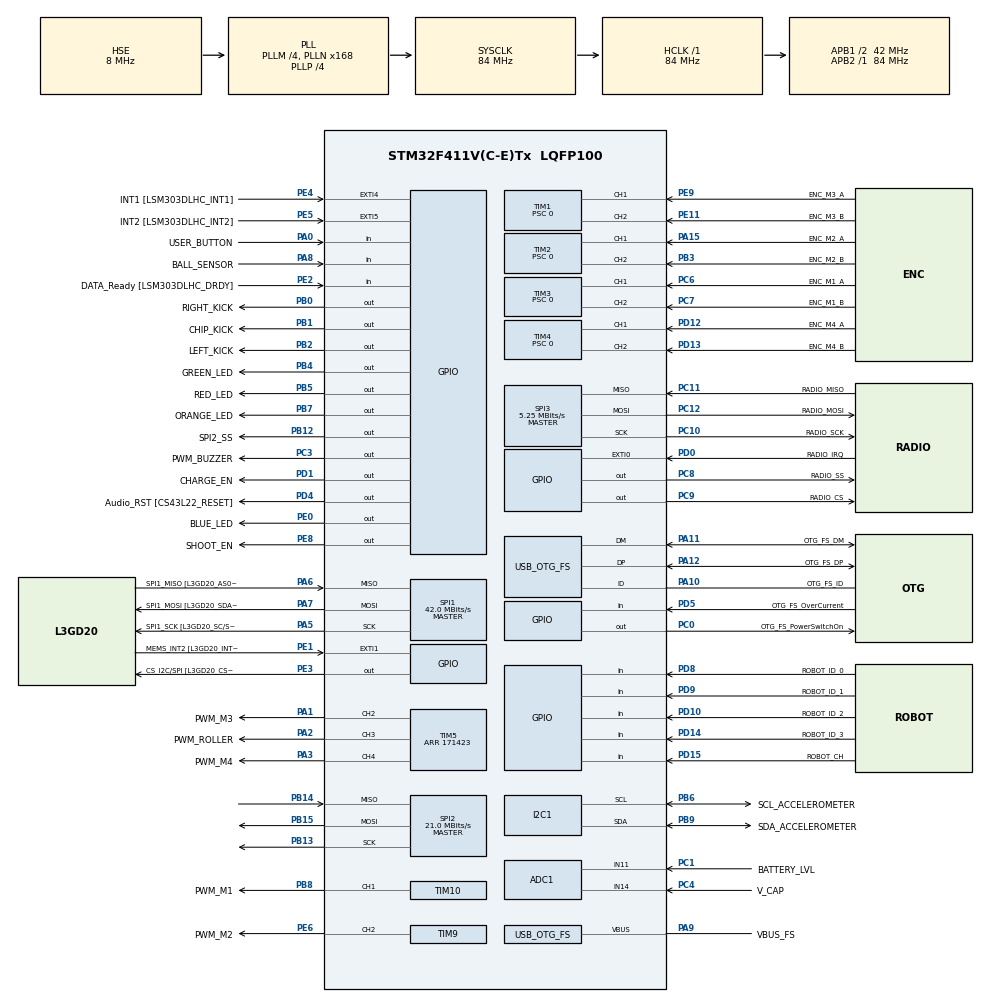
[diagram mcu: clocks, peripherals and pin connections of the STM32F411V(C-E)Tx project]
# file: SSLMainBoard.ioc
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ADC1.Channel-0\#ChannelRegularConversion=ADC_CHANNEL_11
ADC1.Channel-2\#ChannelRegularConversion=ADC_CHANNEL_14
ADC1.ContinuousConvMode=ENABLE
ADC1.DMAContinuousRequests=ENABLE
ADC1.EOCSelection=ADC_EOC_SEQ_CONV
ADC1.InjNumberOfConversion=0
ADC1.NbrOfConversion=2
ADC1.NbrOfConversionFlag=1
ADC1.Rank-0\#ChannelRegularConversion=1
ADC1.Rank-2\#ChannelRegularConversion=2
ADC1.SamplingTime-0\#ChannelRegularConversion=ADC_SAMPLETIME_480CYCLES
ADC1.SamplingTime-2\#ChannelRegularConversion=ADC_SAMPLETIME_480CYCLES
ADC1.master=1
Dma.ADC1.0.Direction=DMA_PERIPH_TO_MEMORY
Dma.ADC1.0.FIFOMode=DMA_FIFOMODE_DISABLE
Dma.ADC1.0.Instance=DMA2_Stream0
Dma.ADC1.0.MemDataAlignment=DMA_MDATAALIGN_HALFWORD
Dma.ADC1.0.MemInc=DMA_MINC_ENABLE
Dma.ADC1.0.Mode=DMA_NORMAL
Dma.ADC1.0.PeriphDataAlignment=DMA_PDATAALIGN_HALFWORD
Dma.ADC1.0.PeriphInc=DMA_PINC_DISABLE
Dma.ADC1.0.Priority=DMA_PRIORITY_MEDIUM
Dma.Request0=ADC1
Mcu.Family=STM32F4
Mcu.Name=STM32F411V(C-E)Tx
Mcu.Package=LQFP100
Mcu.UserConstants=TMR11_CLK,84000000
NVIC.ADC_IRQn=true\:0\:0\:false\:false\:true\:true\:true\:true
NVIC.DMA2_Stream0_IRQn=true\:0\:0\:false\:false\:true\:false\:true\:true
NVIC.EXTI0_IRQn=true\:0\:0\:false\:false\:true\:true\:true\:true
NVIC.PriorityGroup=NVIC_PRIORITYGROUP_0
NVIC.TIM1_TRG_COM_TIM11_IRQn=true\:0\:0\:false\:false\:true\:true\:true\:true
NVIC.TIM1_UP_TIM10_IRQn=true\:0\:0\:false\:false\:true\:true\:true\:true
PA0-WKUP.GPIO_Label=USER_BUTTON
PA0-WKUP.Signal=GPIO_Input
PA1.GPIO_Label=PWM_M3
PA1.Signal=S_TIM5_CH2
PA10.GPIO_Label=OTG_FS_ID
PA10.Mode=OTG/Dual_Role_Device
PA10.Signal=USB_OTG_FS_ID
PA11.GPIO_Label=OTG_FS_DM
PA11.Mode=OTG/Dual_Role_Device
PA11.Signal=USB_OTG_FS_DM
PA12.GPIO_Label=OTG_FS_DP
PA12.Mode=OTG/Dual_Role_Device
PA12.Signal=USB_OTG_FS_DP
PA13.GPIO_Label=SWDIO
PA13.Mode=Serial_Wire
PA13.Signal=SYS_JTMS-SWDIO
PA14.GPIO_Label=SWCLK
PA14.Mode=Serial_Wire
PA14.Signal=SYS_JTCK-SWCLK
PA15.GPIO_Label=ENC_M2_A
PA15.Signal=S_TIM2_CH1_ETR
PA2.GPIO_Label=PWM_ROLLER
PA2.Signal=S_TIM5_CH3
PA3.GPIO_Label=PWM_M4
PA3.Signal=S_TIM5_CH4
PA5.GPIO_Label=SPI1_SCK [L3GD20_SC/SPC]
PA5.Mode=Full_Duplex_Master
PA5.Signal=SPI1_SCK
PA6.GPIO_Label=SPI1_MISO [L3GD20_AS0/SDO]
PA6.Mode=Full_Duplex_Master
PA6.Signal=SPI1_MISO
PA7.GPIO_Label=SPI1_MOSI [L3GD20_SDA/SDI/SDO]
PA7.Mode=Full_Duplex_Master
PA7.Signal=SPI1_MOSI
PA8.GPIO_Label=BALL_SENSOR
PA8.Signal=GPIO_Input
PA9.GPIO_Label=VBUS_FS
PA9.Mode=Activate_VBUS
PA9.Signal=USB_OTG_FS_VBUS
PB0.GPIO_Label=RIGHT_KICK
PB0.PinState=GPIO_PIN_RESET
PB0.Signal=GPIO_Output
PB1.GPIO_Label=CHIP_KICK
PB1.PinState=GPIO_PIN_RESET
PB1.Signal=GPIO_Output
PB12.GPIO_Label=SPI2_SS
PB12.Signal=GPIO_Output
PB13.Mode=Full_Duplex_Master
PB13.Signal=SPI2_SCK
PB14.Mode=Full_Duplex_Master
PB14.Signal=SPI2_MISO
PB15.Mode=Full_Duplex_Master
PB15.Signal=SPI2_MOSI
PB2.GPIO_Label=LEFT_KICK
PB2.PinState=GPIO_PIN_RESET
PB2.Signal=GPIO_Output
PB3.GPIO_Label=ENC_M2_B
PB3.Signal=S_TIM2_CH2
PB4.GPIO_Label=GREEN_LED
PB4.Signal=GPIO_Output
PB5.GPIO_Label=RED_LED
PB5.GPIO_PuPd=GPIO_NOPULL
PB5.GPIO_Speed=GPIO_SPEED_FREQ_LOW
PB5.Signal=GPIO_Output
PB6.GPIO_Label=SCL_ACCELEROMETER
PB6.GPIO_Mode=GPIO_MODE_AF_OD
PB6.GPIO_Pu=GPIO_PULLUP
PB6.GPIO_PuPd=GPIO_NOPULL
PB6.GPIO_Speed=GPIO_SPEED_FREQ_LOW
PB6.Mode=I2C
PB6.Signal=I2C1_SCL
PB7.GPIO_Label=ORANGE_LED
PB7.Signal=GPIO_Output
PB8.GPIO_Label=PWM_M1
PB8.Signal=S_TIM10_CH1
PB9.GPIO_Label=SDA_ACCELEROMETER
PB9.GPIO_Mode=GPIO_MODE_AF_OD
PB9.GPIO_Pu=GPIO_PULLUP
PB9.GPIO_PuPd=GPIO_NOPULL
PB9.GPIO_Speed=GPIO_SPEED_FREQ_LOW
PB9.Mode=I2C
PB9.Signal=I2C1_SDA
PC0.GPIO_Label=OTG_FS_PowerSwitchOn
PC0.PinState=GPIO_PIN_SET
PC0.Signal=GPIO_Output
PC1.GPIO_Label=BATTERY_LVL
PC1.Signal=ADCx_IN11
PC10.GPIO_Label=RADIO_SCK
PC10.Mode=Full_Duplex_Master
PC10.Signal=SPI3_SCK
PC11.GPIO_Label=RADIO_MISO
PC11.Mode=Full_Duplex_Master
PC11.Signal=SPI3_MISO
PC12.GPIO_Label=RADIO_MOSI
PC12.Mode=Full_Duplex_Master
PC12.Signal=SPI3_MOSI
PC14-OSC32_IN.GPIO_Label=PC14-OSC32_IN
PC14-OSC32_IN.Mode=LSE-External-Oscillator
PC14-OSC32_IN.Signal=RCC_OSC32_IN
PC15-OSC32_OUT.GPIO_Label=PC15-OSC32_OUT
PC15-OSC32_OUT.Mode=LSE-External-Oscillator
PC15-OSC32_OUT.Signal=RCC_OSC32_OUT
PC3.GPIO_Label=PWM_BUZZER
PC3.Signal=GPIO_Output
PC4.GPIO_Label=V_CAP
PC4.Signal=ADCx_IN14
PC6.GPIO_Label=ENC_M1_A
PC6.Signal=S_TIM3_CH1
PC7.GPIO_Label=ENC_M1_B
PC7.Signal=S_TIM3_CH2
PC8.GPIO_Label=RADIO_SS
PC8.Signal=GPIO_Output
PC9.GPIO_Label=RADIO_CS
PC9.Signal=GPIO_Output
PD0.GPIO_Label=RADIO_IRQ
PD0.GPIO_ModeDefaultEXTI=GPIO_MODE_IT_FALLING
PD0.Signal=GPXTI0
PD1.GPIO_Label=CHARGE_EN
PD1.PinState=GPIO_PIN_SET
PD1.Signal=GPIO_Output
PD10.GPIO_Label=ROBOT_ID_2
PD10.GPIO_PuPd=GPIO_PULLDOWN
PD10.Signal=GPIO_Input
PD12.GPIO_Label=ENC_M4_A
PD12.Signal=S_TIM4_CH1
PD13.GPIO_Label=ENC_M4_B
PD13.Signal=S_TIM4_CH2
PD14.GPIO_Label=ROBOT_ID_3
PD14.GPIO_PuPd=GPIO_PULLDOWN
PD14.Signal=GPIO_Input
PD15.GPIO_Label=ROBOT_CH
PD15.GPIO_PuPd=GPIO_PULLDOWN
PD15.Signal=GPIO_Input
PD4.GPIO_Label=Audio_RST [CS43L22_RESET]
PD4.Signal=GPIO_Output
PD5.GPIO_Label=OTG_FS_OverCurrent
PD5.Signal=GPIO_Input
PD8.GPIO_Label=ROBOT_ID_0
PD8.GPIO_PuPd=GPIO_PULLDOWN
PD8.Signal=GPIO_Input
PD9.GPIO_Label=ROBOT_ID_1
PD9.GPIO_PuPd=GPIO_PULLDOWN
PD9.Signal=GPIO_Input
PE0.GPIO_Label=BLUE_LED
PE0.GPIO_PuPd=GPIO_NOPULL
PE0.GPIO_Speed=GPIO_SPEED_FREQ_VERY_HIGH
PE0.Signal=GPIO_Output
PE1.GPIO_Label=MEMS_INT2 [L3GD20_INT2]
PE1.GPIO_ModeDefaultEXTI=GPIO_MODE_EVT_RISING
PE1.Signal=GPXTI1
PE11.GPIO_Label=ENC_M3_B
PE11.Signal=S_TIM1_CH2
PE2.GPIO_Label=DATA_Ready [LSM303DLHC_DRDY]
PE2.Signal=GPIO_Input
PE3.GPIO_Label=CS_I2C/SPI [L3GD20_CS_I2C/SPI]
PE3.Signal=GPIO_Output
PE4.GPIO_Label=INT1 [LSM303DLHC_INT1]
PE4.GPIO_ModeDefaultEXTI=GPIO_MODE_EVT_RISING
PE4.Signal=GPXTI4
PE5.GPIO_Label=INT2 [LSM303DLHC_INT2]
PE5.GPIO_ModeDefaultEXTI=GPIO_MODE_EVT_RISING
PE5.Signal=GPXTI5
PE6.GPIO_Label=PWM_M2
PE6.Signal=S_TIM9_CH2
PE8.GPIO_Label=SHOOT_EN
PE8.PinState=GPIO_PIN_SET
PE8.Signal=GPIO_Output
PE9.GPIO_Label=ENC_M3_A
PE9.Signal=S_TIM1_CH1
PH0\ -\ OSC_IN.GPIO_Label=PH0-OSC_IN
PH0\ -\ OSC_IN.Mode=HSE-External-Oscillator
PH0\ -\ OSC_IN.Signal=RCC_OSC_IN
PH1\ -\ OSC_OUT.GPIO_Label=PH1-OSC_OUT
PH1\ -\ OSC_OUT.Mode=HSE-External-Oscillator
PH1\ -\ OSC_OUT.Signal=RCC_OSC_OUT
ProjectManager.HeapSize=0x200
ProjectManager.StackSize=0x400
ProjectManager.TargetToolchain=STM32CubeIDE
RCC.48MHZClocksFreq_Value=48000000
RCC.AHBFreq_Value=84000000
RCC.APB1CLKDivider=RCC_HCLK_DIV2
RCC.APB1Freq_Value=42000000
RCC.APB1TimFreq_Value=84000000
RCC.APB2Freq_Value=84000000
RCC.APB2TimFreq_Value=84000000
RCC.CortexFreq_Value=84000000
RCC.HCLKFreq_Value=84000000
RCC.HSE_VALUE=8000000
RCC.HSI_VALUE=16000000
RCC.PLLI2SM=5
RCC.PLLI2SN=200
RCC.PLLM=4
RCC.PLLN=168
RCC.PLLP=RCC_PLLP_DIV4
RCC.PLLQ=7
RCC.SYSCLKFreq_VALUE=84000000
RCC.SYSCLKSource=RCC_SYSCLKSOURCE_PLLCLK
RCC.VCOOutputFreq_Value=336000000
SH.ADCx_IN11.0=ADC1_IN11,IN11
SH.ADCx_IN14.0=ADC1_IN14,IN14
SH.S_TIM10_CH1.0=TIM10_CH1,PWM Generation1 CH1
SH.S_TIM1_CH1.0=TIM1_CH1,Encoder_Interface
SH.S_TIM1_CH2.0=TIM1_CH2,Encoder_Interface
SH.S_TIM2_CH1_ETR.0=TIM2_CH1,Encoder_Interface
SH.S_TIM2_CH2.0=TIM2_CH2,Encoder_Interface
SH.S_TIM3_CH1.0=TIM3_CH1,Encoder_Interface
SH.S_TIM3_CH2.0=TIM3_CH2,Encoder_Interface
SH.S_TIM4_CH1.0=TIM4_CH1,Encoder_Interface
SH.S_TIM4_CH2.0=TIM4_CH2,Encoder_Interface
SH.S_TIM5_CH2.0=TIM5_CH2,PWM Generation2 CH2
SH.S_TIM5_CH3.0=TIM5_CH3,PWM Generation3 CH3
SH.S_TIM5_CH4.0=TIM5_CH4,PWM Generation4 CH4
SH.S_TIM9_CH2.0=TIM9_CH2,PWM Generation2 CH2
SPI1.BaudRatePrescaler=SPI_BAUDRATEPRESCALER_2
SPI1.CalculateBaudRate=42.0 MBits/s
SPI1.Direction=SPI_DIRECTION_2LINES
SPI1.Mode=SPI_MODE_MASTER
SPI1.VirtualType=VM_MASTER
SPI2.CalculateBaudRate=21.0 MBits/s
SPI2.Direction=SPI_DIRECTION_2LINES
SPI2.Mode=SPI_MODE_MASTER
SPI2.VirtualType=VM_MASTER
SPI3.BaudRatePrescaler=SPI_BAUDRATEPRESCALER_8
SPI3.CalculateBaudRate=5.25 MBits/s
SPI3.Direction=SPI_DIRECTION_2LINES
SPI3.Mode=SPI_MODE_MASTER
SPI3.VirtualType=VM_MASTER
TIM1.Prescaler=0
TIM10.AutoReloadPreload=TIM_AUTORELOAD_PRELOAD_DISABLE
TIM10.Channel=TIM_CHANNEL_1
TIM10.Period=57143
TIM10.Prescaler=2
TIM11.Prescaler=84
TIM2.AutoReloadPreload=TIM_AUTORELOAD_PRELOAD_ENABLE
TIM2.Period=65535
TIM2.Prescaler=0
TIM3.Prescaler=0
TIM4.Prescaler=0
TIM5.Channel-PWM\ Generation2\ CH2=TIM_CHANNEL_2
TIM5.Channel-PWM\ Generation3\ CH3=TIM_CHANNEL_3
TIM5.Channel-PWM\ Generation4\ CH4=TIM_CHANNEL_4
TIM5.Period=171423
TIM9.Channel-PWM\ Generation2\ CH2=TIM_CHANNEL_2
TIM9.Period=57143
TIM9.Prescaler=2
VP_TIM10_VS_ClockSourceINT.Mode=Enable_Timer
VP_TIM11_VS_ClockSourceINT.Mode=Enable_Timer
board=STM32F411E-DISCO

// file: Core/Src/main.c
/* USER CODE BEGIN Header */
/**
 ******************************************************************************
 * @file           : main.c
 * @brief          : Main program body
 ******************************************************************************
 * @attention
 *
 * Copyright (c) 2022 STMicroelectronics.
 * All rights reserved.
 *
 * This software is licensed under terms that can be found in the LICENSE file
 * in the root directory of this software component.
 * If no LICENSE file comes with this software, it is provided AS-IS.
 *
 ******************************************************************************
 */
/* USER CODE END Header */
#include "main.h"

ADC_HandleTypeDef hadc1;
DMA_HandleTypeDef hdma_adc1;

I2C_HandleTypeDef hi2c1;

SPI_HandleTypeDef hspi1;
SPI_HandleTypeDef hspi2;
SPI_HandleTypeDef hspi3;

TIM_HandleTypeDef htim1;
TIM_HandleTypeDef htim2;
TIM_HandleTypeDef htim3;
TIM_HandleTypeDef htim4;
TIM_HandleTypeDef htim5;
TIM_HandleTypeDef htim9;
TIM_HandleTypeDef htim10;
TIM_HandleTypeDef htim11;

/* USER CODE BEGIN PV */

__IO uint16_t uhADCxConvertedValue[2] = {0, 0};
/* USER CODE END PV */

void SystemClock_Config(void);
static void MX_GPIO_Init(void);
static void MX_DMA_Init(void);
static void MX_I2C1_Init(void);
static void MX_SPI1_Init(void);
static void MX_TIM1_Init(void);
static void MX_TIM2_Init(void);
static void MX_TIM10_Init(void);
static void MX_ADC1_Init(void);
static void MX_USB_OTG_FS_USB_Init(void);
static void MX_TIM4_Init(void);
static void MX_TIM11_Init(void);
static void MX_SPI3_Init(void);
static void MX_TIM3_Init(void);
static void MX_SPI2_Init(void);
static void MX_TIM5_Init(void);
static void MX_TIM9_Init(void);

int init(void)
{
  /* USER CODE BEGIN 1 */
    //  ********************* IMPORTANTE **************************************
    //  ============ SEMPRE MUDAR O NOME DA FUNÇÃO DE "main" PARA "init" ======
    //  ********************* IMPORTANTE **************************************
  /* USER CODE END 1 */

  /* MCU Configuration--------------------------------------------------------*/

  /* Reset of all peripherals, Initializes the Flash interface and the Systick. */
  HAL_Init();

  /* Configure the system clock */
  SystemClock_Config();

  /* Initialize all configured peripherals */
  MX_GPIO_Init();
  MX_DMA_Init();
  MX_I2C1_Init();
  MX_SPI1_Init();
  MX_TIM1_Init();
  MX_TIM2_Init();
  MX_TIM10_Init();
  MX_ADC1_Init();
  MX_USB_OTG_FS_USB_Init();
  MX_TIM4_Init();
  MX_TIM11_Init();
  MX_SPI3_Init();
  MX_TIM3_Init();
  MX_SPI2_Init();
  MX_TIM5_Init();
  MX_TIM9_Init();

  /* Infinite loop */
  /* USER CODE BEGIN WHILE */
  // while (1)
  // {
  // }
  // O arquivo principal é o ssl_main.c
  return 0;
    /* USER CODE END WHILE */

}

void SystemClock_Config(void)
{
  RCC_OscInitTypeDef RCC_OscInitStruct = {0};
  RCC_ClkInitTypeDef RCC_ClkInitStruct = {0};

  /** Configure the main internal regulator output voltage
  */
  __HAL_RCC_PWR_CLK_ENABLE();
  __HAL_PWR_VOLTAGESCALING_CONFIG(PWR_REGULATOR_VOLTAGE_SCALE1);

  /** Initializes the RCC Oscillators according to the specified parameters
  * in the RCC_OscInitTypeDef structure.
  */
  RCC_OscInitStruct.OscillatorType = RCC_OSCILLATORTYPE_HSE;
  RCC_OscInitStruct.HSEState = RCC_HSE_ON;
  RCC_OscInitStruct.PLL.PLLState = RCC_PLL_ON;
  RCC_OscInitStruct.PLL.PLLSource = RCC_PLLSOURCE_HSE;
  RCC_OscInitStruct.PLL.PLLM = 4;
  RCC_OscInitStruct.PLL.PLLN = 168;
  RCC_OscInitStruct.PLL.PLLP = RCC_PLLP_DIV4;
  RCC_OscInitStruct.PLL.PLLQ = 7;
  if (HAL_RCC_OscConfig(&RCC_OscInitStruct) != HAL_OK)
  {
    Error_Handler();
  }

  /** Initializes the CPU, AHB and APB buses clocks
  */
  RCC_ClkInitStruct.ClockType = RCC_CLOCKTYPE_HCLK|RCC_CLOCKTYPE_SYSCLK
                              |RCC_CLOCKTYPE_PCLK1|RCC_CLOCKTYPE_PCLK2;
  RCC_ClkInitStruct.SYSCLKSource = RCC_SYSCLKSOURCE_PLLCLK;
  RCC_ClkInitStruct.AHBCLKDivider = RCC_SYSCLK_DIV1;
  RCC_ClkInitStruct.APB1CLKDivider = RCC_HCLK_DIV2;
  RCC_ClkInitStruct.APB2CLKDivider = RCC_HCLK_DIV1;

  if (HAL_RCC_ClockConfig(&RCC_ClkInitStruct, FLASH_LATENCY_2) != HAL_OK)
  {
    Error_Handler();
  }
}

static void MX_ADC1_Init(void)
{

  ADC_ChannelConfTypeDef sConfig = {0};

  /** Configure the global features of the ADC (Clock, Resolution, Data Alignment and number of conversion)
  */
  hadc1.Instance = ADC1;
  hadc1.Init.ClockPrescaler = ADC_CLOCK_SYNC_PCLK_DIV4;
  hadc1.Init.Resolution = ADC_RESOLUTION_12B;
  hadc1.Init.ScanConvMode = ENABLE;
  hadc1.Init.ContinuousConvMode = ENABLE;
  hadc1.Init.DiscontinuousConvMode = DISABLE;
  hadc1.Init.ExternalTrigConvEdge = ADC_EXTERNALTRIGCONVEDGE_NONE;
  hadc1.Init.ExternalTrigConv = ADC_SOFTWARE_START;
  hadc1.Init.DataAlign = ADC_DATAALIGN_RIGHT;
  hadc1.Init.NbrOfConversion = 2;
  hadc1.Init.DMAContinuousRequests = ENABLE;
  hadc1.Init.EOCSelection = ADC_EOC_SEQ_CONV;
  if (HAL_ADC_Init(&hadc1) != HAL_OK)
  {
    Error_Handler();
  }

  /** Configure for the selected ADC regular channel its corresponding rank in the sequencer and its sample time.
  */
  sConfig.Channel = ADC_CHANNEL_11;
  sConfig.Rank = 1;
  sConfig.SamplingTime = ADC_SAMPLETIME_480CYCLES;
  if (HAL_ADC_ConfigChannel(&hadc1, &sConfig) != HAL_OK)
  {
    Error_Handler();
  }

  /** Configure for the selected ADC regular channel its corresponding rank in the sequencer and its sample time.
  */
  sConfig.Channel = ADC_CHANNEL_14;
  sConfig.Rank = 2;
  if (HAL_ADC_ConfigChannel(&hadc1, &sConfig) != HAL_OK)
  {
    Error_Handler();
  }
  /* USER CODE BEGIN ADC1_Init 2 */

  if(HAL_ADC_Start_DMA(&hadc1, (uint32_t*)uhADCxConvertedValue, 2) != HAL_OK)
  {
    /* Start Conversation Error */
    Error_Handler();
  }
  /* USER CODE END ADC1_Init 2 */

}

static void MX_I2C1_Init(void)
{

  hi2c1.Instance = I2C1;
  hi2c1.Init.ClockSpeed = 100000;
  hi2c1.Init.DutyCycle = I2C_DUTYCYCLE_2;
  hi2c1.Init.OwnAddress1 = 0;
  hi2c1.Init.AddressingMode = I2C_ADDRESSINGMODE_7BIT;
  hi2c1.Init.DualAddressMode = I2C_DUALADDRESS_DISABLE;
  hi2c1.Init.OwnAddress2 = 0;
  hi2c1.Init.GeneralCallMode = I2C_GENERALCALL_DISABLE;
  hi2c1.Init.NoStretchMode = I2C_NOSTRETCH_DISABLE;
  if (HAL_I2C_Init(&hi2c1) != HAL_OK)
  {
    Error_Handler();
  }

}

static void MX_SPI1_Init(void)
{

  /* SPI1 parameter configuration*/
  hspi1.Instance = SPI1;
  hspi1.Init.Mode = SPI_MODE_MASTER;
  hspi1.Init.Direction = SPI_DIRECTION_2LINES;
  hspi1.Init.DataSize = SPI_DATASIZE_8BIT;
  hspi1.Init.CLKPolarity = SPI_POLARITY_LOW;
  hspi1.Init.CLKPhase = SPI_PHASE_1EDGE;
  hspi1.Init.NSS = SPI_NSS_SOFT;
  hspi1.Init.BaudRatePrescaler = SPI_BAUDRATEPRESCALER_2;
  hspi1.Init.FirstBit = SPI_FIRSTBIT_MSB;
  hspi1.Init.TIMode = SPI_TIMODE_DISABLE;
  hspi1.Init.CRCCalculation = SPI_CRCCALCULATION_DISABLE;
  hspi1.Init.CRCPolynomial = 10;
  if (HAL_SPI_Init(&hspi1) != HAL_OK)
  {
    Error_Handler();
  }

}

static void MX_SPI2_Init(void)
{

  /* SPI2 parameter configuration*/
  hspi2.Instance = SPI2;
  hspi2.Init.Mode = SPI_MODE_MASTER;
  hspi2.Init.Direction = SPI_DIRECTION_2LINES;
  hspi2.Init.DataSize = SPI_DATASIZE_8BIT;
  hspi2.Init.CLKPolarity = SPI_POLARITY_LOW;
  hspi2.Init.CLKPhase = SPI_PHASE_1EDGE;
  hspi2.Init.NSS = SPI_NSS_SOFT;
  hspi2.Init.BaudRatePrescaler = SPI_BAUDRATEPRESCALER_2;
  hspi2.Init.FirstBit = SPI_FIRSTBIT_MSB;
  hspi2.Init.TIMode = SPI_TIMODE_DISABLE;
  hspi2.Init.CRCCalculation = SPI_CRCCALCULATION_DISABLE;
  hspi2.Init.CRCPolynomial = 10;
  if (HAL_SPI_Init(&hspi2) != HAL_OK)
  {
    Error_Handler();
  }

}

static void MX_SPI3_Init(void)
{

  /* SPI3 parameter configuration*/
  hspi3.Instance = SPI3;
  hspi3.Init.Mode = SPI_MODE_MASTER;
  hspi3.Init.Direction = SPI_DIRECTION_2LINES;
  hspi3.Init.DataSize = SPI_DATASIZE_8BIT;
  hspi3.Init.CLKPolarity = SPI_POLARITY_LOW;
  hspi3.Init.CLKPhase = SPI_PHASE_1EDGE;
  hspi3.Init.NSS = SPI_NSS_SOFT;
  hspi3.Init.BaudRatePrescaler = SPI_BAUDRATEPRESCALER_8;
  hspi3.Init.FirstBit = SPI_FIRSTBIT_MSB;
  hspi3.Init.TIMode = SPI_TIMODE_DISABLE;
  hspi3.Init.CRCCalculation = SPI_CRCCALCULATION_DISABLE;
  hspi3.Init.CRCPolynomial = 10;
  if (HAL_SPI_Init(&hspi3) != HAL_OK)
  {
    Error_Handler();
  }

}

static void MX_TIM1_Init(void)
{

  TIM_Encoder_InitTypeDef sConfig = {0};
  TIM_MasterConfigTypeDef sMasterConfig = {0};

  htim1.Instance = TIM1;
  htim1.Init.Prescaler = 0;
  htim1.Init.CounterMode = TIM_COUNTERMODE_UP;
  htim1.Init.Period = 65535;
  htim1.Init.ClockDivision = TIM_CLOCKDIVISION_DIV1;
  htim1.Init.RepetitionCounter = 0;
  htim1.Init.AutoReloadPreload = TIM_AUTORELOAD_PRELOAD_DISABLE;
  sConfig.EncoderMode = TIM_ENCODERMODE_TI1;
  sConfig.IC1Polarity = TIM_ICPOLARITY_RISING;
  sConfig.IC1Selection = TIM_ICSELECTION_DIRECTTI;
  sConfig.IC1Prescaler = TIM_ICPSC_DIV1;
  sConfig.IC1Filter = 0;
  sConfig.IC2Polarity = TIM_ICPOLARITY_RISING;
  sConfig.IC2Selection = TIM_ICSELECTION_DIRECTTI;
  sConfig.IC2Prescaler = TIM_ICPSC_DIV1;
  sConfig.IC2Filter = 0;
  if (HAL_TIM_Encoder_Init(&htim1, &sConfig) != HAL_OK)
  {
    Error_Handler();
  }
  sMasterConfig.MasterOutputTrigger = TIM_TRGO_RESET;
  sMasterConfig.MasterSlaveMode = TIM_MASTERSLAVEMODE_DISABLE;
  if (HAL_TIMEx_MasterConfigSynchronization(&htim1, &sMasterConfig) != HAL_OK)
  {
    Error_Handler();
  }

}

static void MX_TIM2_Init(void)
{

  TIM_Encoder_InitTypeDef sConfig = {0};
  TIM_MasterConfigTypeDef sMasterConfig = {0};

  htim2.Instance = TIM2;
  htim2.Init.Prescaler = 0;
  htim2.Init.CounterMode = TIM_COUNTERMODE_UP;
  htim2.Init.Period = 65535;
  htim2.Init.ClockDivision = TIM_CLOCKDIVISION_DIV1;
  htim2.Init.AutoReloadPreload = TIM_AUTORELOAD_PRELOAD_ENABLE;
  sConfig.EncoderMode = TIM_ENCODERMODE_TI1;
  sConfig.IC1Polarity = TIM_ICPOLARITY_RISING;
  sConfig.IC1Selection = TIM_ICSELECTION_DIRECTTI;
  sConfig.IC1Prescaler = TIM_ICPSC_DIV1;
  sConfig.IC1Filter = 0;
  sConfig.IC2Polarity = TIM_ICPOLARITY_RISING;
  sConfig.IC2Selection = TIM_ICSELECTION_DIRECTTI;
  sConfig.IC2Prescaler = TIM_ICPSC_DIV1;
  sConfig.IC2Filter = 0;
  if (HAL_TIM_Encoder_Init(&htim2, &sConfig) != HAL_OK)
  {
    Error_Handler();
  }
  sMasterConfig.MasterOutputTrigger = TIM_TRGO_RESET;
  sMasterConfig.MasterSlaveMode = TIM_MASTERSLAVEMODE_DISABLE;
  if (HAL_TIMEx_MasterConfigSynchronization(&htim2, &sMasterConfig) != HAL_OK)
  {
    Error_Handler();
  }

}

static void MX_TIM3_Init(void)
{

  TIM_Encoder_InitTypeDef sConfig = {0};
  TIM_MasterConfigTypeDef sMasterConfig = {0};

  htim3.Instance = TIM3;
  htim3.Init.Prescaler = 0;
  htim3.Init.CounterMode = TIM_COUNTERMODE_UP;
  htim3.Init.Period = 65535;
  htim3.Init.ClockDivision = TIM_CLOCKDIVISION_DIV1;
  htim3.Init.AutoReloadPreload = TIM_AUTORELOAD_PRELOAD_DISABLE;
  sConfig.EncoderMode = TIM_ENCODERMODE_TI1;
  sConfig.IC1Polarity = TIM_ICPOLARITY_RISING;
  sConfig.IC1Selection = TIM_ICSELECTION_DIRECTTI;
  sConfig.IC1Prescaler = TIM_ICPSC_DIV1;
  sConfig.IC1Filter = 0;
  sConfig.IC2Polarity = TIM_ICPOLARITY_RISING;
  sConfig.IC2Selection = TIM_ICSELECTION_DIRECTTI;
  sConfig.IC2Prescaler = TIM_ICPSC_DIV1;
  sConfig.IC2Filter = 0;
  if (HAL_TIM_Encoder_Init(&htim3, &sConfig) != HAL_OK)
  {
    Error_Handler();
  }
  sMasterConfig.MasterOutputTrigger = TIM_TRGO_RESET;
  sMasterConfig.MasterSlaveMode = TIM_MASTERSLAVEMODE_DISABLE;
  if (HAL_TIMEx_MasterConfigSynchronization(&htim3, &sMasterConfig) != HAL_OK)
  {
    Error_Handler();
  }

}

static void MX_TIM4_Init(void)
{

  TIM_Encoder_InitTypeDef sConfig = {0};
  TIM_MasterConfigTypeDef sMasterConfig = {0};

  htim4.Instance = TIM4;
  htim4.Init.Prescaler = 0;
  htim4.Init.CounterMode = TIM_COUNTERMODE_UP;
  htim4.Init.Period = 65535;
  htim4.Init.ClockDivision = TIM_CLOCKDIVISION_DIV1;
  htim4.Init.AutoReloadPreload = TIM_AUTORELOAD_PRELOAD_DISABLE;
  sConfig.EncoderMode = TIM_ENCODERMODE_TI1;
  sConfig.IC1Polarity = TIM_ICPOLARITY_RISING;
  sConfig.IC1Selection = TIM_ICSELECTION_DIRECTTI;
  sConfig.IC1Prescaler = TIM_ICPSC_DIV1;
  sConfig.IC1Filter = 0;
  sConfig.IC2Polarity = TIM_ICPOLARITY_RISING;
  sConfig.IC2Selection = TIM_ICSELECTION_DIRECTTI;
  sConfig.IC2Prescaler = TIM_ICPSC_DIV1;
  sConfig.IC2Filter = 0;
  if (HAL_TIM_Encoder_Init(&htim4, &sConfig) != HAL_OK)
  {
    Error_Handler();
  }
  sMasterConfig.MasterOutputTrigger = TIM_TRGO_RESET;
  sMasterConfig.MasterSlaveMode = TIM_MASTERSLAVEMODE_DISABLE;
  if (HAL_TIMEx_MasterConfigSynchronization(&htim4, &sMasterConfig) != HAL_OK)
  {
    Error_Handler();
  }

}

static void MX_TIM5_Init(void)
{

  TIM_MasterConfigTypeDef sMasterConfig = {0};
  TIM_OC_InitTypeDef sConfigOC = {0};

  htim5.Instance = TIM5;
  htim5.Init.Prescaler = 0;
  htim5.Init.CounterMode = TIM_COUNTERMODE_UP;
  htim5.Init.Period = 171423;
  htim5.Init.ClockDivision = TIM_CLOCKDIVISION_DIV1;
  htim5.Init.AutoReloadPreload = TIM_AUTORELOAD_PRELOAD_DISABLE;
  if (HAL_TIM_PWM_Init(&htim5) != HAL_OK)
  {
    Error_Handler();
  }
  sMasterConfig.MasterOutputTrigger = TIM_TRGO_RESET;
  sMasterConfig.MasterSlaveMode = TIM_MASTERSLAVEMODE_DISABLE;
  if (HAL_TIMEx_MasterConfigSynchronization(&htim5, &sMasterConfig) != HAL_OK)
  {
    Error_Handler();
  }
  sConfigOC.OCMode = TIM_OCMODE_PWM1;
  sConfigOC.Pulse = 0;
  sConfigOC.OCPolarity = TIM_OCPOLARITY_HIGH;
  sConfigOC.OCFastMode = TIM_OCFAST_DISABLE;
  if (HAL_TIM_PWM_ConfigChannel(&htim5, &sConfigOC, TIM_CHANNEL_2) != HAL_OK)
  {
    Error_Handler();
  }
  if (HAL_TIM_PWM_ConfigChannel(&htim5, &sConfigOC, TIM_CHANNEL_3) != HAL_OK)
  {
    Error_Handler();
  }
  if (HAL_TIM_PWM_ConfigChannel(&htim5, &sConfigOC, TIM_CHANNEL_4) != HAL_OK)
  {
    Error_Handler();
  }
  HAL_TIM_MspPostInit(&htim5);

}

static void MX_TIM9_Init(void)
{

  TIM_OC_InitTypeDef sConfigOC = {0};

  htim9.Instance = TIM9;
  htim9.Init.Prescaler = 2;
  htim9.Init.CounterMode = TIM_COUNTERMODE_UP;
  htim9.Init.Period = 57143;
  htim9.Init.ClockDivision = TIM_CLOCKDIVISION_DIV1;
  htim9.Init.AutoReloadPreload = TIM_AUTORELOAD_PRELOAD_DISABLE;
  if (HAL_TIM_PWM_Init(&htim9) != HAL_OK)
  {
    Error_Handler();
  }
  sConfigOC.OCMode = TIM_OCMODE_PWM1;
  sConfigOC.Pulse = 0;
  sConfigOC.OCPolarity = TIM_OCPOLARITY_HIGH;
  sConfigOC.OCFastMode = TIM_OCFAST_DISABLE;
  if (HAL_TIM_PWM_ConfigChannel(&htim9, &sConfigOC, TIM_CHANNEL_2) != HAL_OK)
  {
    Error_Handler();
  }
  HAL_TIM_MspPostInit(&htim9);

}

static void MX_TIM10_Init(void)
{

  TIM_OC_InitTypeDef sConfigOC = {0};

  htim10.Instance = TIM10;
  htim10.Init.Prescaler = 2;
  htim10.Init.CounterMode = TIM_COUNTERMODE_UP;
  htim10.Init.Period = 57143;
  htim10.Init.ClockDivision = TIM_CLOCKDIVISION_DIV1;
  htim10.Init.AutoReloadPreload = TIM_AUTORELOAD_PRELOAD_DISABLE;
  if (HAL_TIM_Base_Init(&htim10) != HAL_OK)
  {
    Error_Handler();
  }
  if (HAL_TIM_PWM_Init(&htim10) != HAL_OK)
  {
    Error_Handler();
  }
  sConfigOC.OCMode = TIM_OCMODE_PWM1;
  sConfigOC.Pulse = 0;
  sConfigOC.OCPolarity = TIM_OCPOLARITY_HIGH;
  sConfigOC.OCFastMode = TIM_OCFAST_DISABLE;
  if (HAL_TIM_PWM_ConfigChannel(&htim10, &sConfigOC, TIM_CHANNEL_1) != HAL_OK)
  {
    Error_Handler();
  }
  HAL_TIM_MspPostInit(&htim10);

}

static void MX_TIM11_Init(void)
{

  htim11.Instance = TIM11;
  htim11.Init.Prescaler = 84;
  htim11.Init.CounterMode = TIM_COUNTERMODE_UP;
  htim11.Init.Period = 65535;
  htim11.Init.ClockDivision = TIM_CLOCKDIVISION_DIV1;
  htim11.Init.AutoReloadPreload = TIM_AUTORELOAD_PRELOAD_DISABLE;
  if (HAL_TIM_Base_Init(&htim11) != HAL_OK)
  {
    Error_Handler();
  }
  /* USER CODE BEGIN TIM11_Init 2 */
  HAL_TIM_Base_Start(&htim11);
  /* USER CODE END TIM11_Init 2 */

}

static void MX_USB_OTG_FS_USB_Init(void)
{

}

static void MX_DMA_Init(void)
{

  /* DMA controller clock enable */
  __HAL_RCC_DMA2_CLK_ENABLE();

  /* DMA interrupt init */
  /* DMA2_Stream0_IRQn interrupt configuration */
  HAL_NVIC_SetPriority(DMA2_Stream0_IRQn, 0, 0);
  HAL_NVIC_EnableIRQ(DMA2_Stream0_IRQn);

}

static void MX_GPIO_Init(void)
{
  GPIO_InitTypeDef GPIO_InitStruct = {0};

  /* GPIO Ports Clock Enable */
  __HAL_RCC_GPIOE_CLK_ENABLE();
  __HAL_RCC_GPIOC_CLK_ENABLE();
  __HAL_RCC_GPIOH_CLK_ENABLE();
  __HAL_RCC_GPIOA_CLK_ENABLE();
  __HAL_RCC_GPIOB_CLK_ENABLE();
  __HAL_RCC_GPIOD_CLK_ENABLE();

  /*Configure GPIO pin Output Level */
  HAL_GPIO_WritePin(GPIOE, CS_I2C_SPI_Pin|BLUE_LED_Pin, GPIO_PIN_RESET);

  /*Configure GPIO pin Output Level */
  HAL_GPIO_WritePin(OTG_FS_PowerSwitchOn_GPIO_Port, OTG_FS_PowerSwitchOn_Pin, GPIO_PIN_SET);

  /*Configure GPIO pin Output Level */
  HAL_GPIO_WritePin(GPIOC, PWM_BUZZER_Pin|RADIO_SS_Pin|RADIO_CS_Pin, GPIO_PIN_RESET);

  /*Configure GPIO pin Output Level */
  HAL_GPIO_WritePin(GPIOB, RIGHT_KICK_Pin|CHIP_KICK_Pin|LEFT_KICK_Pin|SPI2_SS_Pin
                          |GREEN_LED_Pin|RED_LED_Pin|ORANGE_LED_Pin, GPIO_PIN_RESET);

  /*Configure GPIO pin Output Level */
  HAL_GPIO_WritePin(SHOOT_EN_GPIO_Port, SHOOT_EN_Pin, GPIO_PIN_SET);

  /*Configure GPIO pin Output Level */
  HAL_GPIO_WritePin(CHARGE_EN_GPIO_Port, CHARGE_EN_Pin, GPIO_PIN_SET);

  /*Configure GPIO pin Output Level */
  HAL_GPIO_WritePin(Audio_RST_GPIO_Port, Audio_RST_Pin, GPIO_PIN_RESET);

  /*Configure GPIO pin : DATA_Ready_Pin */
  GPIO_InitStruct.Pin = DATA_Ready_Pin;
  GPIO_InitStruct.Mode = GPIO_MODE_INPUT;
  GPIO_InitStruct.Pull = GPIO_NOPULL;
  HAL_GPIO_Init(DATA_Ready_GPIO_Port, &GPIO_InitStruct);

  /*Configure GPIO pins : CS_I2C_SPI_Pin SHOOT_EN_Pin */
  GPIO_InitStruct.Pin = CS_I2C_SPI_Pin|SHOOT_EN_Pin;
  GPIO_InitStruct.Mode = GPIO_MODE_OUTPUT_PP;
  GPIO_InitStruct.Pull = GPIO_NOPULL;
  GPIO_InitStruct.Speed = GPIO_SPEED_FREQ_LOW;
  HAL_GPIO_Init(GPIOE, &GPIO_InitStruct);

  /*Configure GPIO pins : INT1_Pin INT2_Pin MEMS_INT2_Pin */
  GPIO_InitStruct.Pin = INT1_Pin|INT2_Pin|MEMS_INT2_Pin;
  GPIO_InitStruct.Mode = GPIO_MODE_EVT_RISING;
  GPIO_InitStruct.Pull = GPIO_NOPULL;
  HAL_GPIO_Init(GPIOE, &GPIO_InitStruct);

  /*Configure GPIO pins : PC13 PC2 PC5 */
  GPIO_InitStruct.Pin = GPIO_PIN_13|GPIO_PIN_2|GPIO_PIN_5;
  GPIO_InitStruct.Mode = GPIO_MODE_ANALOG;
  GPIO_InitStruct.Pull = GPIO_NOPULL;
  HAL_GPIO_Init(GPIOC, &GPIO_InitStruct);

  /*Configure GPIO pins : OTG_FS_PowerSwitchOn_Pin PWM_BUZZER_Pin RADIO_SS_Pin RADIO_CS_Pin */
  GPIO_InitStruct.Pin = OTG_FS_PowerSwitchOn_Pin|PWM_BUZZER_Pin|RADIO_SS_Pin|RADIO_CS_Pin;
  GPIO_InitStruct.Mode = GPIO_MODE_OUTPUT_PP;
  GPIO_InitStruct.Pull = GPIO_NOPULL;
  GPIO_InitStruct.Speed = GPIO_SPEED_FREQ_LOW;
  HAL_GPIO_Init(GPIOC, &GPIO_InitStruct);

  /*Configure GPIO pins : USER_BUTTON_Pin BALL_SENSOR_Pin */
  GPIO_InitStruct.Pin = USER_BUTTON_Pin|BALL_SENSOR_Pin;
  GPIO_InitStruct.Mode = GPIO_MODE_INPUT;
  GPIO_InitStruct.Pull = GPIO_NOPULL;
  HAL_GPIO_Init(GPIOA, &GPIO_InitStruct);

  /*Configure GPIO pin : PA4 */
  GPIO_InitStruct.Pin = GPIO_PIN_4;
  GPIO_InitStruct.Mode = GPIO_MODE_ANALOG;
  GPIO_InitStruct.Pull = GPIO_NOPULL;
  HAL_GPIO_Init(GPIOA, &GPIO_InitStruct);

  /*Configure GPIO pins : RIGHT_KICK_Pin CHIP_KICK_Pin LEFT_KICK_Pin SPI2_SS_Pin
                           GREEN_LED_Pin RED_LED_Pin ORANGE_LED_Pin */
  GPIO_InitStruct.Pin = RIGHT_KICK_Pin|CHIP_KICK_Pin|LEFT_KICK_Pin|SPI2_SS_Pin
                          |GREEN_LED_Pin|RED_LED_Pin|ORANGE_LED_Pin;
  GPIO_InitStruct.Mode = GPIO_MODE_OUTPUT_PP;
  GPIO_InitStruct.Pull = GPIO_NOPULL;
  GPIO_InitStruct.Speed = GPIO_SPEED_FREQ_LOW;
  HAL_GPIO_Init(GPIOB, &GPIO_InitStruct);

  /*Configure GPIO pins : PE7 PE10 PE12 PE13
                           PE14 PE15 */
  GPIO_InitStruct.Pin = GPIO_PIN_7|GPIO_PIN_10|GPIO_PIN_12|GPIO_PIN_13
                          |GPIO_PIN_14|GPIO_PIN_15;
  GPIO_InitStruct.Mode = GPIO_MODE_ANALOG;
  GPIO_InitStruct.Pull = GPIO_NOPULL;
  HAL_GPIO_Init(GPIOE, &GPIO_InitStruct);

  /*Configure GPIO pin : PB10 */
  GPIO_InitStruct.Pin = GPIO_PIN_10;
  GPIO_InitStruct.Mode = GPIO_MODE_ANALOG;
  GPIO_InitStruct.Pull = GPIO_NOPULL;
  HAL_GPIO_Init(GPIOB, &GPIO_InitStruct);

  /*Configure GPIO pins : ROBOT_ID_0_Pin ROBOT_ID_1_Pin ROBOT_ID_2_Pin ROBOT_ID_3_Pin
                           ROBOT_CH_Pin */
  GPIO_InitStruct.Pin = ROBOT_ID_0_Pin|ROBOT_ID_1_Pin|ROBOT_ID_2_Pin|ROBOT_ID_3_Pin
                          |ROBOT_CH_Pin;
  GPIO_InitStruct.Mode = GPIO_MODE_INPUT;
  GPIO_InitStruct.Pull = GPIO_PULLDOWN;
  HAL_GPIO_Init(GPIOD, &GPIO_InitStruct);

  /*Configure GPIO pins : PD11 PD2 PD3 PD6
                           PD7 */
  GPIO_InitStruct.Pin = GPIO_PIN_11|GPIO_PIN_2|GPIO_PIN_3|GPIO_PIN_6
                          |GPIO_PIN_7;
  GPIO_InitStruct.Mode = GPIO_MODE_ANALOG;
  GPIO_InitStruct.Pull = GPIO_NOPULL;
  HAL_GPIO_Init(GPIOD, &GPIO_InitStruct);

  /*Configure GPIO pin : VBUS_FS_Pin */
  GPIO_InitStruct.Pin = VBUS_FS_Pin;
  GPIO_InitStruct.Mode = GPIO_MODE_INPUT;
  GPIO_InitStruct.Pull = GPIO_NOPULL;
  HAL_GPIO_Init(VBUS_FS_GPIO_Port, &GPIO_InitStruct);

  /*Configure GPIO pins : OTG_FS_ID_Pin OTG_FS_DM_Pin OTG_FS_DP_Pin */
  GPIO_InitStruct.Pin = OTG_FS_ID_Pin|OTG_FS_DM_Pin|OTG_FS_DP_Pin;
  GPIO_InitStruct.Mode = GPIO_MODE_AF_PP;
  GPIO_InitStruct.Pull = GPIO_NOPULL;
  GPIO_InitStruct.Speed = GPIO_SPEED_FREQ_VERY_HIGH;
  GPIO_InitStruct.Alternate = GPIO_AF10_OTG_FS;
  HAL_GPIO_Init(GPIOA, &GPIO_InitStruct);

  /*Configure GPIO pin : RADIO_IRQ_Pin */
  GPIO_InitStruct.Pin = RADIO_IRQ_Pin;
  GPIO_InitStruct.Mode = GPIO_MODE_IT_FALLING;
  GPIO_InitStruct.Pull = GPIO_NOPULL;
  HAL_GPIO_Init(RADIO_IRQ_GPIO_Port, &GPIO_InitStruct);

  /*Configure GPIO pins : CHARGE_EN_Pin Audio_RST_Pin */
  GPIO_InitStruct.Pin = CHARGE_EN_Pin|Audio_RST_Pin;
  GPIO_InitStruct.Mode = GPIO_MODE_OUTPUT_PP;
  GPIO_InitStruct.Pull = GPIO_NOPULL;
  GPIO_InitStruct.Speed = GPIO_SPEED_FREQ_LOW;
  HAL_GPIO_Init(GPIOD, &GPIO_InitStruct);

  /*Configure GPIO pin : OTG_FS_OverCurrent_Pin */
  GPIO_InitStruct.Pin = OTG_FS_OverCurrent_Pin;
  GPIO_InitStruct.Mode = GPIO_MODE_INPUT;
  GPIO_InitStruct.Pull = GPIO_NOPULL;
  HAL_GPIO_Init(OTG_FS_OverCurrent_GPIO_Port, &GPIO_InitStruct);

  /*Configure GPIO pin : BLUE_LED_Pin */
  GPIO_InitStruct.Pin = BLUE_LED_Pin;
  GPIO_InitStruct.Mode = GPIO_MODE_OUTPUT_PP;
  GPIO_InitStruct.Pull = GPIO_NOPULL;
  GPIO_InitStruct.Speed = GPIO_SPEED_FREQ_VERY_HIGH;
  HAL_GPIO_Init(BLUE_LED_GPIO_Port, &GPIO_InitStruct);

  /* EXTI interrupt init*/
  HAL_NVIC_SetPriority(EXTI0_IRQn, 0, 0);
  HAL_NVIC_EnableIRQ(EXTI0_IRQn);

}

void Error_Handler(void)
{
  /* USER CODE BEGIN Error_Handler_Debug */
    /* User can add his own implementation to report the HAL error return state */
//     __disable_irq();

    uint32_t adjustSetpoint = htim10.Instance->ARR / 2;
    __HAL_TIM_SET_COMPARE(&htim10, TIM_CHANNEL_1, adjustSetpoint);

    adjustSetpoint = htim9.Instance->ARR / 2;
    __HAL_TIM_SET_COMPARE(&htim9, TIM_CHANNEL_2, adjustSetpoint);

    adjustSetpoint = htim5.Instance->ARR / 2;
    __HAL_TIM_SET_COMPARE(&htim5, TIM_CHANNEL_2, adjustSetpoint);
    __HAL_TIM_SET_COMPARE(&htim5, TIM_CHANNEL_4, adjustSetpoint);
    __HAL_TIM_SET_COMPARE(&htim5, TIM_CHANNEL_3, adjustSetpoint);

    while (1)
    {
        HAL_GPIO_TogglePin(RED_LED_GPIO_Port, RED_LED_Pin);
        HAL_GPIO_TogglePin(GREEN_LED_GPIO_Port, RED_LED_Pin);
        HAL_GPIO_TogglePin(ORANGE_LED_GPIO_Port, RED_LED_Pin);
        HAL_GPIO_TogglePin(BLUE_LED_GPIO_Port, RED_LED_Pin);

        HAL_Delay(200);
    }
  /* USER CODE END Error_Handler_Debug */
}
